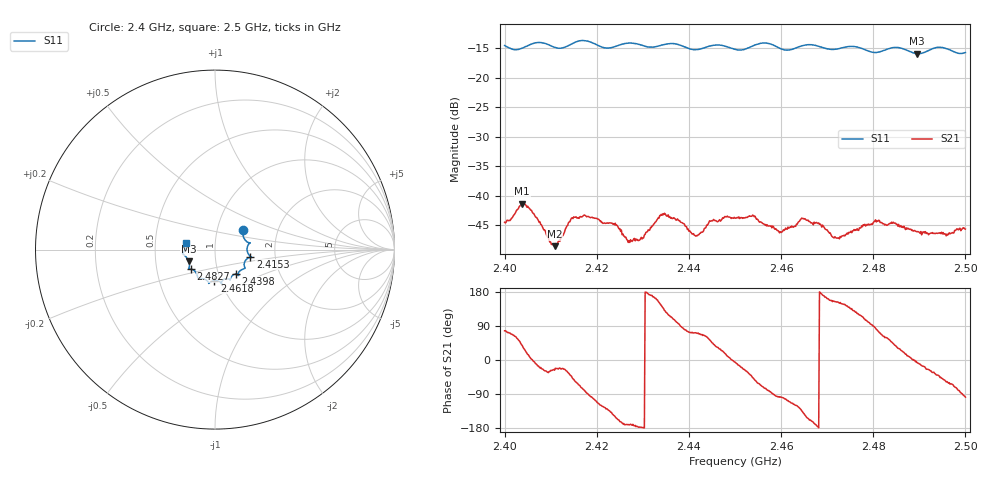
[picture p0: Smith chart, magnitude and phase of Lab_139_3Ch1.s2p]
# Hz S RI R 50
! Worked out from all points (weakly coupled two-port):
!   601 points, 2.4 GHz to 2.5 GHz, reference 50 ohm
!   highest |S21| = -41.32 dB at 2.4038 GHz (marker M1); lowest = -48.5 dB at 2.4108 GHz (marker M2)
!   lowest |S11| = -15.9 dB at 2.4895 GHz (marker M3), VSWR 1.38, Z = 37 - j5.03 ohm
!   |S11| at or under -10 dB: start of sweep to end of sweep
!   S12 and S22 are empty: the file has one direction only
!   S11 on the Smith chart (normalised r, x): 2.4 GHz: 1.33, +0.29; 2.4153 GHz: 1.48, -0.12; 2.4398 GHz: 1.21, -0.34; 2.4618 GHz: 0.94, -0.33; 2.4827 GHz: 0.75, -0.17; 2.5 GHz: 0.72, +0.06
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2.4e9  0.1551 0.1066  0.00133 0.00583  0 0  0 0
2.403833e9  0.1721 0.0488  0.00677 0.00529  0 0  0 0
2.410833e9  0.1812 0.017  0.00333 -0.0017  0 0  0 0
2.415333e9  0.1971 -0.0392  0.00361 -0.0055  0 0  0 0
2.416667e9  0.203 -0.0434  0.0019 -0.00633  0 0  0 0
2.424e9  0.1626 -0.088  -0.00507 -0.00293  0 0  0 0
2.427333e9  0.1683 -0.1039  -0.00417 -0.000786  0 0  0 0
2.429667e9  0.1561 -0.1086  -0.00444 -0.000208  0 0  0 0
2.433333e9  0.1298 -0.1337  -0.00589 0.00276  0 0  0 0
2.435e9  0.1298 -0.1434  -0.00403 0.00556  0 0  0 0
2.439833e9  0.1154 -0.1357  0.00137 0.00505  0 0  0 0
2.441667e9  0.0983 -0.1432  0.00149 0.00436  0 0  0 0
2.444833e9  0.0841 -0.1678  0.00404 0.00459  0 0  0 0
2.45e9  0.0654 -0.1621  0.00646 -0.00063  0 0  0 0
2.456333e9  0.0388 -0.1942  0.00159 -0.00552  0 0  0 0
2.461833e9  -0.00337 -0.1728  -0.00184 -0.00503  0 0  0 0
2.466667e9  -0.0349 -0.188  -0.00561 -0.00187  0 0  0 0
2.472167e9  -0.0717 -0.1607  -0.00391 0.00195  0 0  0 0
2.482667e9  -0.1346 -0.1087  0.0029 0.00494  0 0  0 0
2.483333e9  -0.1398 -0.1084  0.00332 0.0047  0 0  0 0
2.4895e9  -0.1459 -0.0663  0.00492 -0.000592  0 0  0 0
2.5e9  -0.1595 0.0385  -0.000722 -0.00517  0 0  0 0
